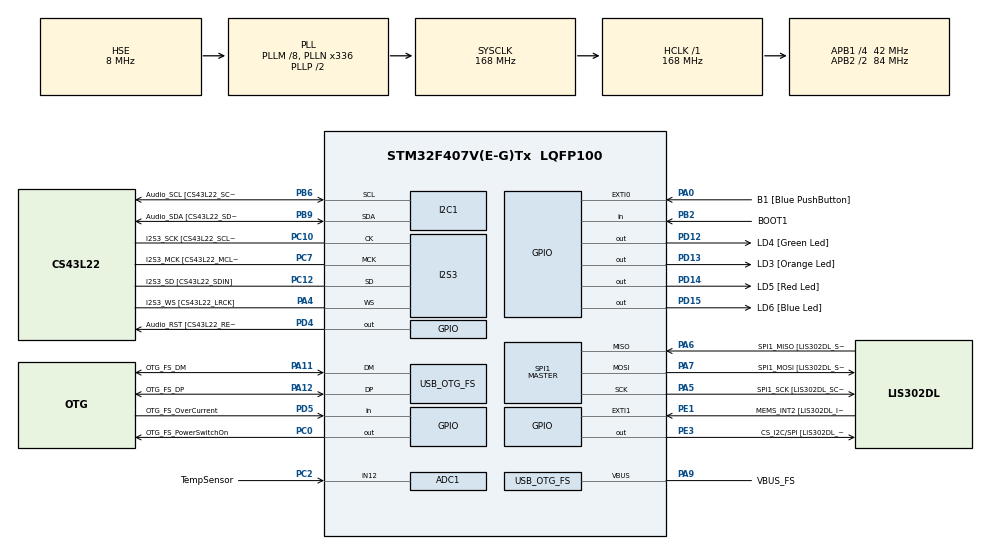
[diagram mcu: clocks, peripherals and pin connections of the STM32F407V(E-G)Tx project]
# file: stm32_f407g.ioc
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ADC1.Channel-4\#ChannelRegularConversion=ADC_CHANNEL_12
ADC1.NbrOfConversionFlag=1
ADC1.Rank-4\#ChannelRegularConversion=1
ADC1.SamplingTime-4\#ChannelRegularConversion=ADC_SAMPLETIME_3CYCLES
ADC1.master=1
FREERTOS.Tasks01=fanTask,0,19000,fanTaskFunction,Default,NULL,Dynamic,NULL,NULL;tempSensorTask,-3,2500,tempSensorTaskFunction,Default,NULL,Dynamic,NULL,NULL;tempControlTask,-3,2500,tempControlTaskFunction,Default,NULL,Dynamic,NULL,NULL
FREERTOS.configTOTAL_HEAP_SIZE=97000
I2S3.AudioFreq-Half_Duplex_Master=I2S_AUDIOFREQ_96K
I2S3.ErrorAudioFreq=-2.34 %
I2S3.ErrorAudioFreq-Half_Duplex_Master=0.8 %
I2S3.FullDuplexMode=I2S_FULLDUPLEXMODE_DISABLE
I2S3.Instance=SPI$Index
I2S3.RealAudioFreq=93.75 KHz
I2S3.RealAudioFreq-Half_Duplex_Master=96.774 KHz
I2S3.VirtualMode=I2S_MODE_MASTER
Mcu.Family=STM32F4
Mcu.Name=STM32F407V(E-G)Tx
Mcu.Package=LQFP100
NVIC.EXTI0_IRQn=true\:5\:0\:false\:false\:true\:true\:true
NVIC.OTG_FS_IRQn=true\:5\:0\:false\:false\:true\:true\:true
NVIC.PVD_IRQn=true\:5\:0\:false\:false\:true\:true\:true
NVIC.PriorityGroup=NVIC_PRIORITYGROUP_4
NVIC.TIM1_UP_TIM10_IRQn=true\:0\:0\:false\:false\:true\:false\:false
NVIC.TimeBase=TIM1_UP_TIM10_IRQn
NVIC.TimeBaseIP=TIM1
PA0-WKUP.GPIO_Label=B1 [Blue PushButton]
PA0-WKUP.GPIO_ModeDefaultEXTI=GPIO_MODE_IT_FALLING
PA0-WKUP.GPIO_PuPd=GPIO_NOPULL
PA0-WKUP.Signal=GPXTI0
PA10.GPIO_Label=OTG_FS_ID
PA10.GPIO_Mode=GPIO_MODE_AF_PP
PA10.GPIO_PuPd=GPIO_NOPULL
PA10.GPIO_Speed=GPIO_SPEED_FREQ_LOW
PA10.Signal=USB_OTG_FS_ID
PA11.GPIO_Label=OTG_FS_DM
PA11.GPIO_Mode=GPIO_MODE_AF_PP
PA11.GPIO_PuPd=GPIO_NOPULL
PA11.GPIO_Speed=GPIO_SPEED_FREQ_LOW
PA11.Mode=Host_Only
PA11.Signal=USB_OTG_FS_DM
PA12.GPIO_Label=OTG_FS_DP
PA12.GPIO_Mode=GPIO_MODE_AF_PP
PA12.GPIO_PuPd=GPIO_NOPULL
PA12.GPIO_Speed=GPIO_SPEED_FREQ_LOW
PA12.Mode=Host_Only
PA12.Signal=USB_OTG_FS_DP
PA13.GPIO_Label=SWDIO
PA13.Mode=Serial_Wire
PA13.Signal=SYS_JTMS-SWDIO
PA14.GPIO_Label=SWCLK
PA14.Mode=Serial_Wire
PA14.Signal=SYS_JTCK-SWCLK
PA4.GPIO_Label=I2S3_WS [CS43L22_LRCK]
PA4.GPIO_Mode=GPIO_MODE_AF_PP
PA4.GPIO_PuPd=GPIO_NOPULL
PA4.GPIO_Speed=GPIO_SPEED_FREQ_LOW
PA4.Mode=Half_Duplex_Master
PA4.Signal=I2S3_WS
PA5.GPIO_Label=SPI1_SCK [LIS302DL_SCL/SPC]
PA5.GPIO_Mode=GPIO_MODE_AF_PP
PA5.GPIO_PuPd=GPIO_NOPULL
PA5.GPIO_Speed=GPIO_SPEED_FREQ_LOW
PA5.Mode=Full_Duplex_Master
PA5.Signal=SPI1_SCK
PA6.GPIO_Label=SPI1_MISO [LIS302DL_SDO]
PA6.GPIO_Mode=GPIO_MODE_AF_PP
PA6.GPIO_PuPd=GPIO_NOPULL
PA6.GPIO_Speed=GPIO_SPEED_FREQ_LOW
PA6.Mode=Full_Duplex_Master
PA6.Signal=SPI1_MISO
PA7.GPIO_Label=SPI1_MOSI [LIS302DL_SDA/SDI/SDO]
PA7.GPIO_Mode=GPIO_MODE_AF_PP
PA7.GPIO_PuPd=GPIO_NOPULL
PA7.GPIO_Speed=GPIO_SPEED_FREQ_LOW
PA7.Mode=Full_Duplex_Master
PA7.Signal=SPI1_MOSI
PA9.GPIO_Label=VBUS_FS
PA9.GPIO_Mode=GPIO_MODE_INPUT
PA9.GPIO_PuPd=GPIO_NOPULL
PA9.Mode=Activate_VBUS
PA9.Signal=USB_OTG_FS_VBUS
PB10.GPIO_Label=CLK_IN [MP45DT02_CLK]
PB10.GPIO_Mode=GPIO_MODE_AF_PP
PB10.GPIO_PuPd=GPIO_NOPULL
PB10.GPIO_Speed=GPIO_SPEED_FREQ_LOW
PB10.Signal=I2S2_CK
PB2.GPIO_Label=BOOT1
PB2.GPIO_Mode=GPIO_MODE_INPUT
PB2.GPIO_PuPd=GPIO_NOPULL
PB2.Signal=GPIO_Input
PB3.GPIO_Label=SWO
PB3.Signal=SYS_JTDO-SWO
PB6.GPIO_Label=Audio_SCL [CS43L22_SCL]
PB6.GPIO_Mode=GPIO_MODE_AF_OD
PB6.GPIO_PuPd=GPIO_NOPULL
PB6.GPIO_Speed=GPIO_SPEED_FREQ_LOW
PB6.Mode=I2C
PB6.Signal=I2C1_SCL
PB9.GPIO_Label=Audio_SDA [CS43L22_SDA]
PB9.GPIO_Mode=GPIO_MODE_AF_OD
PB9.GPIO_PuPd=GPIO_NOPULL
PB9.GPIO_Speed=GPIO_SPEED_FREQ_LOW
PB9.Mode=I2C
PB9.Signal=I2C1_SDA
PC0.GPIO_Label=OTG_FS_PowerSwitchOn
PC0.GPIO_PuPd=GPIO_NOPULL
PC0.GPIO_Speed=GPIO_SPEED_FREQ_LOW
PC0.PinState=GPIO_PIN_SET
PC0.Signal=GPIO_Output
PC10.GPIO_Label=I2S3_SCK [CS43L22_SCLK]
PC10.GPIO_Mode=GPIO_MODE_AF_PP
PC10.GPIO_PuPd=GPIO_NOPULL
PC10.GPIO_Speed=GPIO_SPEED_FREQ_LOW
PC10.Mode=Half_Duplex_Master
PC10.Signal=I2S3_CK
PC12.GPIO_Label=I2S3_SD [CS43L22_SDIN]
PC12.GPIO_Mode=GPIO_MODE_AF_PP
PC12.GPIO_PuPd=GPIO_NOPULL
PC12.GPIO_Speed=GPIO_SPEED_FREQ_LOW
PC12.Mode=Half_Duplex_Master
PC12.Signal=I2S3_SD
PC14-OSC32_IN.GPIO_Label=PC14-OSC32_IN
PC14-OSC32_IN.Mode=LSE-External-Oscillator
PC14-OSC32_IN.Signal=RCC_OSC32_IN
PC15-OSC32_OUT.GPIO_Label=PC15-OSC32_OUT
PC15-OSC32_OUT.Mode=LSE-External-Oscillator
PC15-OSC32_OUT.Signal=RCC_OSC32_OUT
PC2.GPIO_Label=TempSensor
PC2.Signal=SharedAnalog_PC2
PC3.GPIO_Label=PDM_OUT [MP45DT02_DOUT]
PC3.GPIO_Mode=GPIO_MODE_AF_PP
PC3.GPIO_PuPd=GPIO_NOPULL
PC3.GPIO_Speed=GPIO_SPEED_FREQ_LOW
PC3.Signal=I2S2_SD
PC7.GPIO_Label=I2S3_MCK [CS43L22_MCLK]
PC7.GPIO_Mode=GPIO_MODE_AF_PP
PC7.GPIO_PuPd=GPIO_NOPULL
PC7.GPIO_Speed=GPIO_SPEED_FREQ_LOW
PC7.Mode=Master_Clock_Activated
PC7.Signal=I2S3_MCK
PD12.GPIO_Label=LD4 [Green Led]
PD12.GPIO_PuPd=GPIO_NOPULL
PD12.GPIO_Speed=GPIO_SPEED_FREQ_LOW
PD12.Signal=GPIO_Output
PD13.GPIO_Label=LD3 [Orange Led]
PD13.GPIO_PuPd=GPIO_NOPULL
PD13.GPIO_Speed=GPIO_SPEED_FREQ_LOW
PD13.Signal=GPIO_Output
PD14.GPIO_Label=LD5 [Red Led]
PD14.GPIO_PuPd=GPIO_NOPULL
PD14.GPIO_Speed=GPIO_SPEED_FREQ_LOW
PD14.Signal=GPIO_Output
PD15.GPIO_Label=LD6 [Blue Led]
PD15.GPIO_PuPd=GPIO_NOPULL
PD15.GPIO_Speed=GPIO_SPEED_FREQ_LOW
PD15.Signal=GPIO_Output
PD4.GPIO_Label=Audio_RST [CS43L22_RESET]
PD4.GPIO_PuPd=GPIO_NOPULL
PD4.GPIO_Speed=GPIO_SPEED_FREQ_LOW
PD4.Signal=GPIO_Output
PD5.GPIO_Label=OTG_FS_OverCurrent
PD5.GPIO_Mode=GPIO_MODE_INPUT
PD5.GPIO_PuPd=GPIO_NOPULL
PD5.Signal=GPIO_Input
PE1.GPIO_Label=MEMS_INT2 [LIS302DL_INT2]
PE1.GPIO_ModeDefaultEXTI=GPIO_MODE_EVT_RISING
PE1.GPIO_PuPd=GPIO_NOPULL
PE1.Signal=GPXTI1
PE3.GPIO_Label=CS_I2C/SPI [LIS302DL_CS_I2C/SPI]
PE3.GPIO_PuPd=GPIO_NOPULL
PE3.GPIO_Speed=GPIO_SPEED_FREQ_LOW
PE3.Signal=GPIO_Output
PH0-OSC_IN.GPIO_Label=PH0-OSC_IN
PH0-OSC_IN.Mode=HSE-External-Oscillator
PH0-OSC_IN.Signal=RCC_OSC_IN
PH1-OSC_OUT.GPIO_Label=PH1-OSC_OUT
PH1-OSC_OUT.Mode=HSE-External-Oscillator
PH1-OSC_OUT.Signal=RCC_OSC_OUT
ProjectManager.HeapSize=0x200
ProjectManager.StackSize=0x400
ProjectManager.TargetToolchain=SW4STM32
RCC.48MHZClocksFreq_Value=48000000
RCC.AHBFreq_Value=168000000
RCC.APB1CLKDivider=RCC_HCLK_DIV4
RCC.APB1Freq_Value=42000000
RCC.APB1TimFreq_Value=84000000
RCC.APB2CLKDivider=RCC_HCLK_DIV2
RCC.APB2Freq_Value=84000000
RCC.APB2TimFreq_Value=168000000
RCC.CortexFreq_Value=168000000
RCC.HCLKFreq_Value=168000000
RCC.HSE_VALUE=8000000
RCC.HSI_VALUE=16000000
RCC.PLLM=8
RCC.PLLN=336
RCC.PLLQ=7
RCC.SYSCLKFreq_VALUE=168000000
RCC.SYSCLKSource=RCC_SYSCLKSOURCE_PLLCLK
RCC.VCOOutputFreq_Value=336000000
SH.SharedAnalog_PC2.0=GPIO_Analog
SH.SharedAnalog_PC2.1=ADC1_IN12,IN12
SPI1.BaudRatePrescaler-Full_Duplex_Master=SPI_BAUDRATEPRESCALER_2
SPI1.CalculateBaudRate-Full_Duplex_Master=42.0 MBits/s
SPI1.Direction=SPI_DIRECTION_2LINES
SPI1.Mode=SPI_MODE_MASTER
SPI1.Mode-Full_Duplex_Master=SPI_MODE_MASTER
SPI1.VirtualType=VM_MASTER
USB_HOST.BSP.number=1
USB_HOST.USBH_HandleTypeDef-CDC_FS=hUsbHostFS
USB_HOST.VirtualModeFS=Cdc
USB_HOST0.BSP.STBoard=false
USB_HOST0.BSP.api=Unknown
USB_HOST0.BSP.i2caddr=0
USB_HOST0.BSP.i2creg=0
USB_HOST0.BSP.instance=PC0
USB_HOST0.BSP.ip=GPIO
USB_HOST0.BSP.mode=Output
USB_HOST0.BSP.name=Drive_VBUS_FS
USB_HOST0.BSP.solution=PC0
USB_OTG_FS.VirtualMode=Host_Only
USB_OTG_FS.phy_itface=HCD_PHY_EMBEDDED
VP_FREERTOS_VS_ENABLE.Mode=Enabled
VP_SYS_VS_tim1.Mode=TIM1
VP_USB_HOST_VS_USB_HOST_CDC_FS.Mode=CDC_FS
board=STM32F4DISCOVERY

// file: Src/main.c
/* USER CODE BEGIN Header */
/**
  ******************************************************************************
  * @file           : main.c
  * @brief          : Main program body
  ******************************************************************************
  * This notice applies to any and all portions of this file
  * that are not between comment pairs USER CODE BEGIN and
  * USER CODE END. Other portions of this file, whether
  * inserted by the user or by software development tools
  * are owned by their respective copyright owners.
  *
  * Copyright (c) 2019 STMicroelectronics International N.V.
  * All rights reserved.
  *
  * Redistribution and use in source and binary forms, with or without
  * modification, are permitted, provided that the following conditions are met:
  *
  * 1. Redistribution of source code must retain the above copyright notice,
  *    this list of conditions and the following disclaimer.
  * 2. Redistributions in binary form must reproduce the above copyright notice,
  *    this list of conditions and the following disclaimer in the documentation
  *    and/or other materials provided with the distribution.
  * 3. Neither the name of STMicroelectronics nor the names of other
  *    contributors to this software may be used to endorse or promote products
  *    derived from this software without specific written permission.
  * 4. This software, including modifications and/or derivative works of this
  *    software, must execute solely and exclusively on microcontroller or
  *    microprocessor devices manufactured by or for STMicroelectronics.
  * 5. Redistribution and use of this software other than as permitted under
  *    this license is void and will automatically terminate your rights under
  *    this license.
  *
  * THIS SOFTWARE IS PROVIDED BY STMICROELECTRONICS AND CONTRIBUTORS "AS IS"
  * AND ANY EXPRESS, IMPLIED OR STATUTORY WARRANTIES, INCLUDING, BUT NOT
  * LIMITED TO, THE IMPLIED WARRANTIES OF MERCHANTABILITY, FITNESS FOR A
  * PARTICULAR PURPOSE AND NON-INFRINGEMENT OF THIRD PARTY INTELLECTUAL PROPERTY
  * RIGHTS ARE DISCLAIMED TO THE FULLEST EXTENT PERMITTED BY LAW. IN NO EVENT
  * SHALL STMICROELECTRONICS OR CONTRIBUTORS BE LIABLE FOR ANY DIRECT, INDIRECT,
  * INCIDENTAL, SPECIAL, EXEMPLARY, OR CONSEQUENTIAL DAMAGES (INCLUDING, BUT NOT
  * LIMITED TO, PROCUREMENT OF SUBSTITUTE GOODS OR SERVICES; LOSS OF USE, DATA,
  * OR PROFITS; OR BUSINESS INTERRUPTION) HOWEVER CAUSED AND ON ANY THEORY OF
  * LIABILITY, WHETHER IN CONTRACT, STRICT LIABILITY, OR TORT (INCLUDING
  * NEGLIGENCE OR OTHERWISE) ARISING IN ANY WAY OUT OF THE USE OF THIS SOFTWARE,
  * EVEN IF ADVISED OF THE POSSIBILITY OF SUCH DAMAGE.
  *
  ******************************************************************************
  */
/* USER CODE END Header */

#include "main.h"
#include "cmsis_os.h"
#include "usb_host.h"

/* USER CODE BEGIN Includes */
#include <stdlib.h>
#include <all.h>

/* USER CODE END Includes */

ADC_HandleTypeDef hadc1;

I2C_HandleTypeDef hi2c1;

I2S_HandleTypeDef hi2s3;

SPI_HandleTypeDef hspi1;

osThreadId fanTaskHandle;
osThreadId tempSensorTaskHandle;
osThreadId tempControlTaskHandle;

void SystemClock_Config(void);
static void MX_GPIO_Init(void);
static void MX_I2C1_Init(void);
static void MX_I2S3_Init(void);
static void MX_SPI1_Init(void);
static void MX_ADC1_Init(void);
void fanTaskFunction(void const * argument);
void tempSensorTaskFunction(void const * argument);
void tempControlTaskFunction(void const * argument);

/* USER CODE BEGIN 0 */

#define LED_DELAY 400

#define GREEN_LED_PIN LD4_Pin
#define GREEN_BANK    LD4_GPIO_Port

#define BLUE_LED_PIN LD6_Pin
#define BLUE_BANK    LD6_GPIO_Port

#define RED_LED_PIN LD5_Pin
#define RED_BANK    LD5_GPIO_Port

#define ORANGE_LED_PIN LD3_Pin
#define ORANGE_BANK    LD3_GPIO_Port

#define FAN_GPIO_Port ORANGE_BANK
#define FAN_Pin       ORANGE_LED_PIN

void blink(GPIO_TypeDef * bank, uint16_t pin, int16_t count, int16_t delay){
    for(int16_t i = 0; i < count; i++) {
        HAL_GPIO_WritePin(bank, pin, GPIO_PIN_SET);
        HAL_Delay(delay);
        HAL_GPIO_WritePin(bank, pin, GPIO_PIN_RESET);
        HAL_Delay(delay);
    }
}

void blinkOnGreenDelay(int16_t count, int16_t delay) { blink(GREEN_BANK, GREEN_LED_PIN, count, delay); }
void blinkOnGreen(int16_t count) { blinkOnGreenDelay(count, LED_DELAY); }

void blinkOnRedDelay(int16_t count, int16_t delay) { blink(RED_BANK, RED_LED_PIN, count, delay); }
void blinkOnRed(int16_t count) { blinkOnRedDelay(count, LED_DELAY); }

void blinkOnBlueDelay(int16_t count, int16_t delay) { blink(BLUE_BANK, BLUE_LED_PIN, count, delay); }
void blinkOnBlue(int16_t count) { blinkOnBlueDelay(count, LED_DELAY); }

void blinkOnOrangeDelay(int16_t count, int16_t delay) { blink(ORANGE_BANK, ORANGE_LED_PIN, count, delay); }
void blinkOnOrange(int16_t count) { blinkOnOrangeDelay(count, LED_DELAY); }

#define LOW_TEMP  60
#define HIGH_TEMP 100

int map(int  ymin, int ymax, int x) {
    if(ymin < ymax) {
        float ynormMax = ymax - ymin ;
        float y = (ynormMax / 4095.00) * ((float) x);
        return y + ymin;
    } else {
        return -1;
    }
}

int fanIsOn = 0;

void fanLED(int turnOn) {
    fanIsOn = turnOn;
    HAL_GPIO_WritePin(FAN_GPIO_Port, FAN_Pin, turnOn == 0 ? GPIO_PIN_RESET : GPIO_PIN_SET);
}

int currentTemp = LOW_TEMP;

uint32_t pollPotentiometer() {
    uint32_t sum = 0;
    for(int i = 0; i < 100; i++) {
        if (HAL_ADC_PollForConversion(&hadc1, 100) == HAL_OK) {
            sum = sum + HAL_ADC_GetValue(&hadc1);
        }
        HAL_ADC_Start(&hadc1);
    }
    uint32_t ts_val = map(LOW_TEMP, HIGH_TEMP, (sum / 100.00));

    //return ts_val;
    return currentTemp;
}

#define DELTA 5
int delta = DELTA;

void HAL_GPIO_EXTI_Callback(uint16_t GPIO_Pin) {
    switch(GPIO_Pin) {
        case B1_Pin:
            currentTemp = currentTemp + delta;

            delta = (fanIsOn ? -DELTA : DELTA);

            if(delta < 0) blinkOnBlue(1);
            else blinkOnRed(1);

            break;
    }
}

int seed = 1;
StackFrame sf;

/* USER CODE END 0 */

int main(void)
{

  /* MCU Configuration--------------------------------------------------------*/

  /* Reset of all peripherals, Initializes the Flash interface and the Systick. */
  HAL_Init();

  /* Configure the system clock */
  SystemClock_Config();

  /* Initialize all configured peripherals */
  MX_GPIO_Init();
  MX_I2C1_Init();
  MX_I2S3_Init();
  MX_SPI1_Init();
  MX_ADC1_Init();

  /* Create the thread(s) */
  /* definition and creation of fanTask */
  osThreadDef(fanTask, fanTaskFunction, osPriorityNormal, 0, 19000);
  fanTaskHandle = osThreadCreate(osThread(fanTask), NULL);

  /* definition and creation of tempSensorTask */
  osThreadDef(tempSensorTask, tempSensorTaskFunction, osPriorityIdle, 0, 2500);
  tempSensorTaskHandle = osThreadCreate(osThread(tempSensorTask), NULL);

  /* definition and creation of tempControlTask */
  osThreadDef(tempControlTask, tempControlTaskFunction, osPriorityIdle, 0, 2500);
  tempControlTaskHandle = osThreadCreate(osThread(tempControlTask), NULL);

  /* USER CODE BEGIN RTOS_THREADS */
  /* add threads, ... */
    if(fanTaskHandle == NULL || tempSensorTaskHandle == NULL || tempControlTaskHandle == NULL){
        blinkOnRedDelay(10,50);
        exit(-1);
    }
  /* USER CODE END RTOS_THREADS */

  /* Start scheduler */
  osKernelStart();

  /* We should never get here as control is now taken by the scheduler */

  /* Infinite loop */
  while (1)
  {

  }
}

void SystemClock_Config(void)
{
  RCC_OscInitTypeDef RCC_OscInitStruct = {0};
  RCC_ClkInitTypeDef RCC_ClkInitStruct = {0};
  RCC_PeriphCLKInitTypeDef PeriphClkInitStruct = {0};

  /**Configure the main internal regulator output voltage
  */
  __HAL_RCC_PWR_CLK_ENABLE();
  __HAL_PWR_VOLTAGESCALING_CONFIG(PWR_REGULATOR_VOLTAGE_SCALE1);
  /**Initializes the CPU, AHB and APB busses clocks
  */
  RCC_OscInitStruct.OscillatorType = RCC_OSCILLATORTYPE_HSE;
  RCC_OscInitStruct.HSEState = RCC_HSE_ON;
  RCC_OscInitStruct.PLL.PLLState = RCC_PLL_ON;
  RCC_OscInitStruct.PLL.PLLSource = RCC_PLLSOURCE_HSE;
  RCC_OscInitStruct.PLL.PLLM = 8;
  RCC_OscInitStruct.PLL.PLLN = 336;
  RCC_OscInitStruct.PLL.PLLP = RCC_PLLP_DIV2;
  RCC_OscInitStruct.PLL.PLLQ = 7;
  if (HAL_RCC_OscConfig(&RCC_OscInitStruct) != HAL_OK)
  {
    Error_Handler();
  }
  /**Initializes the CPU, AHB and APB busses clocks
  */
  RCC_ClkInitStruct.ClockType = RCC_CLOCKTYPE_HCLK|RCC_CLOCKTYPE_SYSCLK
                              |RCC_CLOCKTYPE_PCLK1|RCC_CLOCKTYPE_PCLK2;
  RCC_ClkInitStruct.SYSCLKSource = RCC_SYSCLKSOURCE_PLLCLK;
  RCC_ClkInitStruct.AHBCLKDivider = RCC_SYSCLK_DIV1;
  RCC_ClkInitStruct.APB1CLKDivider = RCC_HCLK_DIV4;
  RCC_ClkInitStruct.APB2CLKDivider = RCC_HCLK_DIV2;

  if (HAL_RCC_ClockConfig(&RCC_ClkInitStruct, FLASH_LATENCY_5) != HAL_OK)
  {
    Error_Handler();
  }
  PeriphClkInitStruct.PeriphClockSelection = RCC_PERIPHCLK_I2S;
  PeriphClkInitStruct.PLLI2S.PLLI2SN = 192;
  PeriphClkInitStruct.PLLI2S.PLLI2SR = 2;
  if (HAL_RCCEx_PeriphCLKConfig(&PeriphClkInitStruct) != HAL_OK)
  {
    Error_Handler();
  }
}

static void MX_ADC1_Init(void)
{

  ADC_ChannelConfTypeDef sConfig = {0};

  /**Configure the global features of the ADC (Clock, Resolution, Data Alignment and number of conversion)
  */
  hadc1.Instance = ADC1;
  hadc1.Init.ClockPrescaler = ADC_CLOCK_SYNC_PCLK_DIV4;
  hadc1.Init.Resolution = ADC_RESOLUTION_12B;
  hadc1.Init.ScanConvMode = DISABLE;
  hadc1.Init.ContinuousConvMode = DISABLE;
  hadc1.Init.DiscontinuousConvMode = DISABLE;
  hadc1.Init.ExternalTrigConvEdge = ADC_EXTERNALTRIGCONVEDGE_NONE;
  hadc1.Init.ExternalTrigConv = ADC_SOFTWARE_START;
  hadc1.Init.DataAlign = ADC_DATAALIGN_RIGHT;
  hadc1.Init.NbrOfConversion = 1;
  hadc1.Init.DMAContinuousRequests = DISABLE;
  hadc1.Init.EOCSelection = ADC_EOC_SINGLE_CONV;
  if (HAL_ADC_Init(&hadc1) != HAL_OK)
  {
    Error_Handler();
  }
  /**Configure for the selected ADC regular channel its corresponding rank in the sequencer and its sample time.
  */
  sConfig.Channel = ADC_CHANNEL_12;
  sConfig.Rank = 1;
  sConfig.SamplingTime = ADC_SAMPLETIME_3CYCLES;
  if (HAL_ADC_ConfigChannel(&hadc1, &sConfig) != HAL_OK)
  {
    Error_Handler();
  }

}

static void MX_I2C1_Init(void)
{

  hi2c1.Instance = I2C1;
  hi2c1.Init.ClockSpeed = 100000;
  hi2c1.Init.DutyCycle = I2C_DUTYCYCLE_2;
  hi2c1.Init.OwnAddress1 = 0;
  hi2c1.Init.AddressingMode = I2C_ADDRESSINGMODE_7BIT;
  hi2c1.Init.DualAddressMode = I2C_DUALADDRESS_DISABLE;
  hi2c1.Init.OwnAddress2 = 0;
  hi2c1.Init.GeneralCallMode = I2C_GENERALCALL_DISABLE;
  hi2c1.Init.NoStretchMode = I2C_NOSTRETCH_DISABLE;
  if (HAL_I2C_Init(&hi2c1) != HAL_OK)
  {
    Error_Handler();
  }

}

static void MX_I2S3_Init(void)
{

  hi2s3.Instance = SPI3;
  hi2s3.Init.Mode = I2S_MODE_MASTER_TX;
  hi2s3.Init.Standard = I2S_STANDARD_PHILIPS;
  hi2s3.Init.DataFormat = I2S_DATAFORMAT_16B;
  hi2s3.Init.MCLKOutput = I2S_MCLKOUTPUT_ENABLE;
  hi2s3.Init.AudioFreq = I2S_AUDIOFREQ_96K;
  hi2s3.Init.CPOL = I2S_CPOL_LOW;
  hi2s3.Init.ClockSource = I2S_CLOCK_PLL;
  hi2s3.Init.FullDuplexMode = I2S_FULLDUPLEXMODE_DISABLE;
  if (HAL_I2S_Init(&hi2s3) != HAL_OK)
  {
    Error_Handler();
  }

}

static void MX_SPI1_Init(void)
{

  /* SPI1 parameter configuration*/
  hspi1.Instance = SPI1;
  hspi1.Init.Mode = SPI_MODE_MASTER;
  hspi1.Init.Direction = SPI_DIRECTION_2LINES;
  hspi1.Init.DataSize = SPI_DATASIZE_8BIT;
  hspi1.Init.CLKPolarity = SPI_POLARITY_LOW;
  hspi1.Init.CLKPhase = SPI_PHASE_1EDGE;
  hspi1.Init.NSS = SPI_NSS_SOFT;
  hspi1.Init.BaudRatePrescaler = SPI_BAUDRATEPRESCALER_2;
  hspi1.Init.FirstBit = SPI_FIRSTBIT_MSB;
  hspi1.Init.TIMode = SPI_TIMODE_DISABLE;
  hspi1.Init.CRCCalculation = SPI_CRCCALCULATION_DISABLE;
  hspi1.Init.CRCPolynomial = 10;
  if (HAL_SPI_Init(&hspi1) != HAL_OK)
  {
    Error_Handler();
  }

}

static void MX_GPIO_Init(void)
{
  GPIO_InitTypeDef GPIO_InitStruct = {0};

  /* GPIO Ports Clock Enable */
  __HAL_RCC_GPIOE_CLK_ENABLE();
  __HAL_RCC_GPIOC_CLK_ENABLE();
  __HAL_RCC_GPIOH_CLK_ENABLE();
  __HAL_RCC_GPIOA_CLK_ENABLE();
  __HAL_RCC_GPIOB_CLK_ENABLE();
  __HAL_RCC_GPIOD_CLK_ENABLE();

  /*Configure GPIO pin Output Level */
  HAL_GPIO_WritePin(CS_I2C_SPI_GPIO_Port, CS_I2C_SPI_Pin, GPIO_PIN_RESET);

  /*Configure GPIO pin Output Level */
  HAL_GPIO_WritePin(OTG_FS_PowerSwitchOn_GPIO_Port, OTG_FS_PowerSwitchOn_Pin, GPIO_PIN_SET);

  /*Configure GPIO pin Output Level */
  HAL_GPIO_WritePin(GPIOD, LD4_Pin|LD3_Pin|LD5_Pin|LD6_Pin
                          |Audio_RST_Pin, GPIO_PIN_RESET);

  /*Configure GPIO pin : CS_I2C_SPI_Pin */
  GPIO_InitStruct.Pin = CS_I2C_SPI_Pin;
  GPIO_InitStruct.Mode = GPIO_MODE_OUTPUT_PP;
  GPIO_InitStruct.Pull = GPIO_NOPULL;
  GPIO_InitStruct.Speed = GPIO_SPEED_FREQ_LOW;
  HAL_GPIO_Init(CS_I2C_SPI_GPIO_Port, &GPIO_InitStruct);

  /*Configure GPIO pin : OTG_FS_PowerSwitchOn_Pin */
  GPIO_InitStruct.Pin = OTG_FS_PowerSwitchOn_Pin;
  GPIO_InitStruct.Mode = GPIO_MODE_OUTPUT_PP;
  GPIO_InitStruct.Pull = GPIO_NOPULL;
  GPIO_InitStruct.Speed = GPIO_SPEED_FREQ_LOW;
  HAL_GPIO_Init(OTG_FS_PowerSwitchOn_GPIO_Port, &GPIO_InitStruct);

  /*Configure GPIO pin : TempSensor_Pin */
  GPIO_InitStruct.Pin = TempSensor_Pin;
  GPIO_InitStruct.Mode = GPIO_MODE_ANALOG;
  GPIO_InitStruct.Pull = GPIO_NOPULL;
  HAL_GPIO_Init(TempSensor_GPIO_Port, &GPIO_InitStruct);

  /*Configure GPIO pin : PDM_OUT_Pin */
  GPIO_InitStruct.Pin = PDM_OUT_Pin;
  GPIO_InitStruct.Mode = GPIO_MODE_AF_PP;
  GPIO_InitStruct.Pull = GPIO_NOPULL;
  GPIO_InitStruct.Speed = GPIO_SPEED_FREQ_LOW;
  GPIO_InitStruct.Alternate = GPIO_AF5_SPI2;
  HAL_GPIO_Init(PDM_OUT_GPIO_Port, &GPIO_InitStruct);

  /*Configure GPIO pin : B1_Pin */
  GPIO_InitStruct.Pin = B1_Pin;
  GPIO_InitStruct.Mode = GPIO_MODE_IT_FALLING;
  GPIO_InitStruct.Pull = GPIO_NOPULL;
  HAL_GPIO_Init(B1_GPIO_Port, &GPIO_InitStruct);

  /*Configure GPIO pin : BOOT1_Pin */
  GPIO_InitStruct.Pin = BOOT1_Pin;
  GPIO_InitStruct.Mode = GPIO_MODE_INPUT;
  GPIO_InitStruct.Pull = GPIO_NOPULL;
  HAL_GPIO_Init(BOOT1_GPIO_Port, &GPIO_InitStruct);

  /*Configure GPIO pin : CLK_IN_Pin */
  GPIO_InitStruct.Pin = CLK_IN_Pin;
  GPIO_InitStruct.Mode = GPIO_MODE_AF_PP;
  GPIO_InitStruct.Pull = GPIO_NOPULL;
  GPIO_InitStruct.Speed = GPIO_SPEED_FREQ_LOW;
  GPIO_InitStruct.Alternate = GPIO_AF5_SPI2;
  HAL_GPIO_Init(CLK_IN_GPIO_Port, &GPIO_InitStruct);

  /*Configure GPIO pins : LD4_Pin LD3_Pin LD5_Pin LD6_Pin
                           Audio_RST_Pin */
  GPIO_InitStruct.Pin = LD4_Pin|LD3_Pin|LD5_Pin|LD6_Pin
                          |Audio_RST_Pin;
  GPIO_InitStruct.Mode = GPIO_MODE_OUTPUT_PP;
  GPIO_InitStruct.Pull = GPIO_NOPULL;
  GPIO_InitStruct.Speed = GPIO_SPEED_FREQ_LOW;
  HAL_GPIO_Init(GPIOD, &GPIO_InitStruct);

  /*Configure GPIO pin : OTG_FS_OverCurrent_Pin */
  GPIO_InitStruct.Pin = OTG_FS_OverCurrent_Pin;
  GPIO_InitStruct.Mode = GPIO_MODE_INPUT;
  GPIO_InitStruct.Pull = GPIO_NOPULL;
  HAL_GPIO_Init(OTG_FS_OverCurrent_GPIO_Port, &GPIO_InitStruct);

  /*Configure GPIO pin : MEMS_INT2_Pin */
  GPIO_InitStruct.Pin = MEMS_INT2_Pin;
  GPIO_InitStruct.Mode = GPIO_MODE_EVT_RISING;
  GPIO_InitStruct.Pull = GPIO_NOPULL;
  HAL_GPIO_Init(MEMS_INT2_GPIO_Port, &GPIO_InitStruct);

  /* EXTI interrupt init*/
  HAL_NVIC_SetPriority(EXTI0_IRQn, 5, 0);
  HAL_NVIC_EnableIRQ(EXTI0_IRQn);

}

void fanTaskFunction(void const * argument)
{
  /* init code for USB_HOST */
  MX_USB_HOST_Init();

  /* USER CODE BEGIN 5 */
  // init fan
  building_control_Fan_i_App_initialize(SF seed);

  // init temp sensor
  building_control_TempControl_i_App_initialize(SF seed);

  // init temp control
  building_control_TempSensor_i_App_initialize(SF seed);

  blinkOnRedDelay(5, 100);
  /* Infinite loop */

  // call fan's initialize entrypoint
  art_Bridge_EntryPoints_initialise_(SF building_control_Fan_i_App_entryPoints(SF));

  for(;;)
  {
    building_control_Fan_i_App_compute(SF);

    osDelay(1);
  }
  /* USER CODE END 5 */
}

void tempSensorTaskFunction(void const * argument)
{
  /* USER CODE BEGIN tempSensorTaskFunction */
  /* Infinite loop */

  // call temp sensor's initialize entrypoint
  art_Bridge_EntryPoints_initialise_(SF building_control_TempSensor_i_App_entryPoints(SF));

  blinkOnBlueDelay(5, 100);
  for(;;)
  {
    building_control_TempSensor_i_App_compute(SF);

    osDelay(1);
  }
  /* USER CODE END tempSensorTaskFunction */
}

void tempControlTaskFunction(void const * argument)
{
  /* USER CODE BEGIN tempControlTaskFunction */
  /* Infinite loop */

  // call temp control's initialize entrypoint
  art_Bridge_EntryPoints_initialise_(SF building_control_TempControl_i_App_entryPoints(SF));

  blinkOnGreenDelay(5, 100);
  for(;;)
  {
    building_control_TempControl_i_App_compute(SF);

    osDelay(1);
  }
  /* USER CODE END tempControlTaskFunction */
}

void HAL_TIM_PeriodElapsedCallback(TIM_HandleTypeDef *htim)
{
  if (htim->Instance == TIM1) {
    HAL_IncTick();
  }
}

void Error_Handler(void)
{
}

/************************ (C) COPYRIGHT STMicroelectronics *****END OF FILE****/
